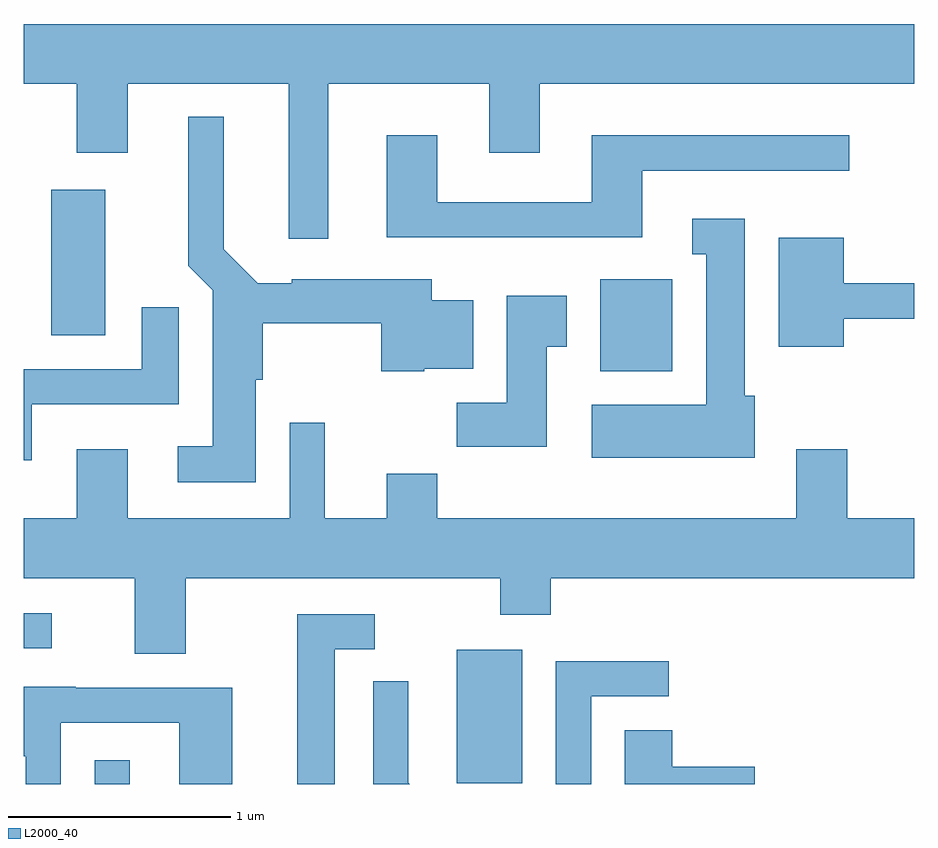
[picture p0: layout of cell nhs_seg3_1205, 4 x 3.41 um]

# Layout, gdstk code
import gdstk
lib = gdstk.Library(unit=1e-6, precision=1e-09)
def R(c, l, rs):  # rectangles x0, y0, x1, y1
    for r in rs: c.add(gdstk.rectangle(r[:2], r[2:], *l))
def P(c, l, *ps):  # polygons
    for p in ps: c.add(gdstk.Polygon(p, *l))
L2000_40 = (2000, 40)

nhs_seg3_1205 = lib.new_cell('nhs_seg3_1205')
R(nhs_seg3_1205, L2000_40, [(219.931,1213.892,220.089,1213.998), (221.556,1213.896,221.849,1214.494), (219.611,1214.501,219.738,1214.659), (222.201,1215.746,222.524,1216.159), (219.736,1215.906,219.979,1216.559)])
P(nhs_seg3_1205, L2000_40, [(220.979,1217.036),(221.701,1217.036),(221.701,1216.726),(221.929,1216.726),(221.929,1217.036),(223.611,1217.036),(223.611,1217.304),(219.611,1217.304),(219.611,1217.036),(219.851,1217.036),(219.851,1216.726),(220.079,1216.726),(220.079,1217.036),(220.801,1217.036),(220.801,1216.341),(220.979,1216.341)],
  [(220.654,1215.706),(220.684,1215.706),(220.684,1215.961),(221.216,1215.961),(221.216,1215.746),(221.41,1215.746),(221.41,1215.756),(221.629,1215.756),(221.629,1216.064),(221.444,1216.064),(221.444,1216.159),(220.816,1216.159),(220.816,1216.139),(220.662,1216.139),(220.509,1216.292),(220.509,1216.888),(220.351,1216.888),(220.351,1216.219),(220.461,1216.109),(220.461,1215.409),(220.303,1215.409),(220.303,1215.246),(220.654,1215.246)],
  [(222.389,1216.646),(223.318,1216.646),(223.318,1216.804),(222.161,1216.804),(222.161,1216.504),(221.469,1216.504),(221.469,1216.804),(221.241,1216.804),(221.241,1216.346),(222.389,1216.346)],
  [(222.894,1215.634),(222.849,1215.634),(222.849,1216.429),(222.613,1216.429),(222.613,1216.271),(222.676,1216.271),(222.676,1215.594),(222.161,1215.594),(222.161,1215.356),(222.894,1215.356)],
  [(223.294,1215.981),(223.611,1215.981),(223.611,1216.139),(223.294,1216.139),(223.294,1216.344),(223.001,1216.344),(223.001,1215.856),(223.294,1215.856)],
  [(221.959,1215.856),(222.049,1215.856),(222.049,1216.084),(221.781,1216.084),(221.781,1215.604),(221.556,1215.604),(221.556,1215.406),(221.959,1215.406)],
  [(219.649,1215.596),(220.309,1215.596),(220.309,1216.033),(220.141,1216.033),(220.141,1215.754),(219.611,1215.754),(219.611,1215.346),(219.649,1215.346)],
  [(220.339,1214.816),(221.751,1214.816),(221.751,1214.651),(221.979,1214.651),(221.979,1214.816),(223.611,1214.816),(223.611,1215.084),(223.309,1215.084),(223.309,1215.394),(223.081,1215.394),(223.081,1215.084),(221.469,1215.084),(221.469,1215.284),(221.241,1215.284),(221.241,1215.084),(220.964,1215.084),(220.964,1215.513),(220.806,1215.513),(220.806,1215.084),(220.079,1215.084),(220.079,1215.394),(219.851,1215.394),(219.851,1215.084),(219.611,1215.084),(219.611,1214.816),(220.111,1214.816),(220.111,1214.476),(220.339,1214.476)],
  [(221.009,1214.496),(221.188,1214.496),(221.188,1214.654),(220.841,1214.654),(220.841,1213.892),(221.009,1213.892)],
  [(222.159,1214.286),(222.508,1214.286),(222.508,1214.444),(222.001,1214.444),(222.001,1213.892),(222.159,1213.892)],
  [(221.339,1213.897),(221.339,1214.353),(221.181,1214.353),(221.181,1213.892),(221.344,1213.892)],
  [(219.779,1214.166),(220.311,1214.166),(220.311,1213.892),(220.549,1213.892),(220.549,1214.324),(219.845,1214.324),(219.845,1214.329),(219.611,1214.329),(219.611,1214.016),(219.621,1214.016),(219.621,1213.892),(219.779,1213.892)],
  [(222.894,1213.969),(222.524,1213.969),(222.524,1214.134),(222.311,1214.134),(222.311,1213.892),(222.894,1213.892)])

lib.write_gds('nhs_seg3_1205.gds')
